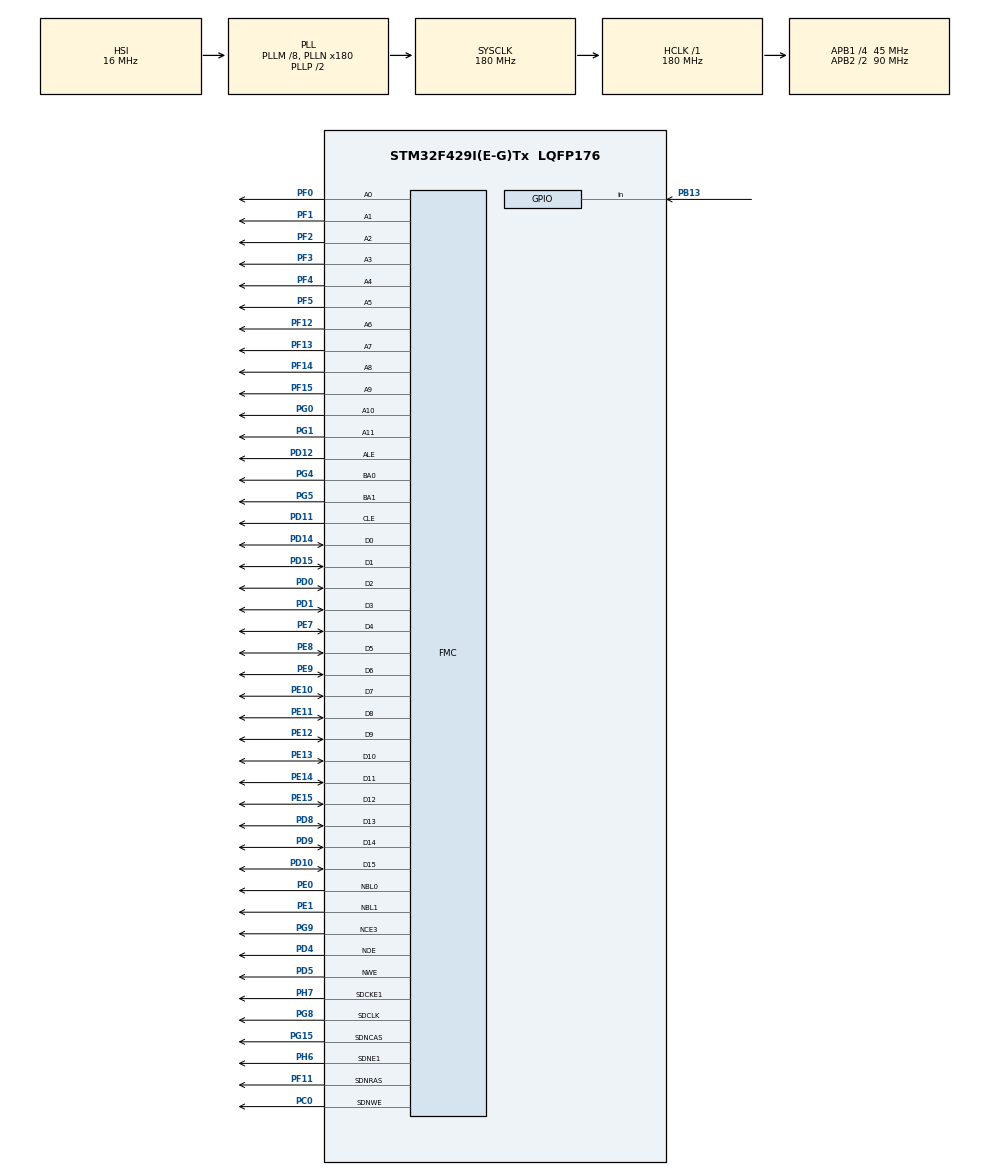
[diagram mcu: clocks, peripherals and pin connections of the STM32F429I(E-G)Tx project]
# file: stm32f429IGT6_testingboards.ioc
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FMC.AttributeSpaceHiZSetupTime1=1
FMC.AttributeSpaceHoldSetupTime1=3
FMC.AttributeSpaceSetupTime1=1
FMC.AttributeSpaceWaitSetupTime1=7
FMC.CASLatency1=FMC_SDRAM_CAS_LATENCY_3
FMC.CommonSpaceHiZSetupTime1=1
FMC.CommonSpaceHoldSetupTime1=3
FMC.CommonSpaceSetupTime1=1
FMC.CommonSpaceWaitSetupTime1=4
FMC.ExitSelfRefreshDelay1=7
FMC.LoadToActiveDelay1=2
FMC.NandBlockNbr1=1024
FMC.NandBlockSize1=64
FMC.NandPageSize1=2048
FMC.NandPlaneNbr1=1
FMC.NandPlaneSize1=1024
FMC.NandSpareAreaSize1=64
FMC.RCDDelay1=2
FMC.RPDelay1=2
FMC.ReadBurst1=FMC_SDRAM_RBURST_ENABLE
FMC.RowCycleDelay1=7
FMC.SDClockPeriod1=FMC_SDRAM_CLOCK_PERIOD_2
FMC.SelfRefreshTime1=4
FMC.WriteRecoveryTime1=6
Mcu.Family=STM32F4
Mcu.Name=STM32F429I(E-G)Tx
Mcu.Package=LQFP176
NVIC.FMC_IRQn=true\:0\:0\:false\:false\:true\:true\:true\:true
NVIC.PriorityGroup=NVIC_PRIORITYGROUP_4
PB13.GPIO_PuPd=GPIO_PULLUP
PB13.Signal=GPIO_Input
PC0.Signal=FMC_SDNWE
PC14/OSC32_IN.Mode=LSE-External-Oscillator
PC14/OSC32_IN.Signal=RCC_OSC32_IN
PC15/OSC32_OUT.Mode=LSE-External-Oscillator
PC15/OSC32_OUT.Signal=RCC_OSC32_OUT
PD0.Signal=FMC_D2_DA2
PD1.Signal=FMC_D3_DA3
PD10.Signal=FMC_D15_DA15
PD11.Signal=FMC_A16_CLE
PD12.Signal=FMC_A17_ALE
PD14.Signal=FMC_D0_DA0
PD15.Signal=FMC_D1_DA1
PD4.Signal=FMC_NOE
PD5.Signal=FMC_NWE
PD8.Signal=FMC_D13_DA13
PD9.Signal=FMC_D14_DA14
PE0.Signal=FMC_NBL0
PE1.Signal=FMC_NBL1
PE10.Signal=FMC_D7_DA7
PE11.Signal=FMC_D8_DA8
PE12.Signal=FMC_D9_DA9
PE13.Signal=FMC_D10_DA10
PE14.Signal=FMC_D11_DA11
PE15.Signal=FMC_D12_DA12
PE7.Signal=FMC_D4_DA4
PE8.Signal=FMC_D5_DA5
PE9.Signal=FMC_D6_DA6
PF0.Signal=FMC_A0
PF1.Signal=FMC_A1
PF11.Signal=FMC_SDNRAS
PF12.Signal=FMC_A6
PF13.Signal=FMC_A7
PF14.Signal=FMC_A8
PF15.Signal=FMC_A9
PF2.Signal=FMC_A2
PF3.Signal=FMC_A3
PF4.Signal=FMC_A4
PF5.Signal=FMC_A5
PG0.Signal=FMC_A10
PG1.Signal=FMC_A11
PG15.Signal=FMC_SDNCAS
PG4.Signal=FMC_A14_BA0
PG5.Signal=FMC_A15_BA1
PG8.Signal=FMC_SDCLK
PG9.Mode=NandChipSelect3_1
PG9.Signal=FMC_NCE3
PH0/OSC_IN.Mode=HSE-External-Oscillator
PH0/OSC_IN.Signal=RCC_OSC_IN
PH1/OSC_OUT.Mode=HSE-External-Oscillator
PH1/OSC_OUT.Signal=RCC_OSC_OUT
PH6.Mode=SdramChipSelect2_1
PH6.Signal=FMC_SDNE1
PH7.Mode=SdramChipSelect2_1
PH7.Signal=FMC_SDCKE1
ProjectManager.HeapSize=0x200
ProjectManager.StackSize=0x400
ProjectManager.TargetToolchain=EWARM V8.50
RCC.48MHZClocksFreq_Value=90000000
RCC.AHBFreq_Value=180000000
RCC.APB1CLKDivider=RCC_HCLK_DIV4
RCC.APB1Freq_Value=45000000
RCC.APB1TimFreq_Value=90000000
RCC.APB2CLKDivider=RCC_HCLK_DIV2
RCC.APB2Freq_Value=90000000
RCC.APB2TimFreq_Value=180000000
RCC.CortexFreq_Value=180000000
RCC.HCLKFreq_Value=180000000
RCC.HSE_VALUE=25000000
RCC.HSI_VALUE=16000000
RCC.PLLM=8
RCC.PLLN=180
RCC.SYSCLKFreq_VALUE=180000000
RCC.SYSCLKSource=RCC_SYSCLKSOURCE_PLLCLK
RCC.VCOOutputFreq_Value=360000000
SH.FMC_A0.0=FMC_A0,12b-sda1
SH.FMC_A1.0=FMC_A1,12b-sda1
SH.FMC_A10.0=FMC_A10,12b-sda1
SH.FMC_A11.0=FMC_A11,12b-sda1
SH.FMC_A14_BA0.0=FMC_BA0,FourSdramBanks1
SH.FMC_A15_BA1.0=FMC_BA1,FourSdramBanks1
SH.FMC_A16_CLE.0=FMC_CLE,8b-dmux1
SH.FMC_A17_ALE.0=FMC_ALE,8b-dmux1
SH.FMC_A2.0=FMC_A2,12b-sda1
SH.FMC_A3.0=FMC_A3,12b-sda1
SH.FMC_A4.0=FMC_A4,12b-sda1
SH.FMC_A5.0=FMC_A5,12b-sda1
SH.FMC_A6.0=FMC_A6,12b-sda1
SH.FMC_A7.0=FMC_A7,12b-sda1
SH.FMC_A8.0=FMC_A8,12b-sda1
SH.FMC_A9.0=FMC_A9,12b-sda1
SH.FMC_D0_DA0.0=FMC_D0,sd-16b-d1
SH.FMC_D0_DA0.1=FMC_D0,8b-dmux1
SH.FMC_D10_DA10.0=FMC_D10,sd-16b-d1
SH.FMC_D11_DA11.0=FMC_D11,sd-16b-d1
SH.FMC_D12_DA12.0=FMC_D12,sd-16b-d1
SH.FMC_D13_DA13.0=FMC_D13,sd-16b-d1
SH.FMC_D14_DA14.0=FMC_D14,sd-16b-d1
SH.FMC_D15_DA15.0=FMC_D15,sd-16b-d1
SH.FMC_D1_DA1.0=FMC_D1,sd-16b-d1
SH.FMC_D1_DA1.1=FMC_D1,8b-dmux1
SH.FMC_D2_DA2.0=FMC_D2,sd-16b-d1
SH.FMC_D2_DA2.1=FMC_D2,8b-dmux1
SH.FMC_D3_DA3.0=FMC_D3,sd-16b-d1
SH.FMC_D3_DA3.1=FMC_D3,8b-dmux1
SH.FMC_D4_DA4.0=FMC_D4,sd-16b-d1
SH.FMC_D4_DA4.1=FMC_D4,8b-dmux1
SH.FMC_D5_DA5.0=FMC_D5,sd-16b-d1
SH.FMC_D5_DA5.1=FMC_D5,8b-dmux1
SH.FMC_D6_DA6.0=FMC_D6,sd-16b-d1
SH.FMC_D6_DA6.1=FMC_D6,8b-dmux1
SH.FMC_D7_DA7.0=FMC_D7,sd-16b-d1
SH.FMC_D7_DA7.1=FMC_D7,8b-dmux1
SH.FMC_D8_DA8.0=FMC_D8,sd-16b-d1
SH.FMC_D9_DA9.0=FMC_D9,sd-16b-d1
SH.FMC_NBL0.0=FMC_NBL0,Sd2ByteEnable1
SH.FMC_NBL1.0=FMC_NBL1,Sd2ByteEnable1
SH.FMC_NOE.0=FMC_NOE,8b-dmux1
SH.FMC_NWE.0=FMC_NWE,8b-dmux1
SH.FMC_SDCLK.0=FMC_SDCLK,12b-sda1
SH.FMC_SDNCAS.0=FMC_SDNCAS,12b-sda1
SH.FMC_SDNRAS.0=FMC_SDNRAS,12b-sda1
SH.FMC_SDNWE.0=FMC_SDNWE,12b-sda1
board=custom

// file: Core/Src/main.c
/* USER CODE BEGIN Header */
/**
  ******************************************************************************
  * @file           : main.c
  * @brief          : Main program body
  ******************************************************************************
  */
/* USER CODE END Header */
#include "main.h"

NAND_HandleTypeDef hnand1;
SDRAM_HandleTypeDef hsdram1;

/* USER CODE BEGIN PV */
NAND_IDTypeDef g_nand_id;

volatile HAL_StatusTypeDef g_erase_status = HAL_ERROR;
volatile HAL_StatusTypeDef g_read_status  = HAL_ERROR;
volatile HAL_StatusTypeDef g_write_status = HAL_ERROR;

NAND_AddressTypeDef g_erase_addr;

uint8_t g_write_buf[2048];
uint8_t g_read_buf[2048];

/* Адреса областей FMC NAND Bank3 */
const uint32_t g_data_area = 0x80000000u;
const uint32_t g_cmd_area  = 0x80000000u | 0x00010000u;  /* 0x80010000 */
const uint32_t g_addr_area = 0x80000000u | 0x00020000u;  /* 0x80020000 */
/* USER CODE END PV */

void SystemClock_Config(void);
static void MX_GPIO_Init(void);
static void MX_FMC_Init(void);

/* USER CODE BEGIN 0 */

/* Ожидание готовности NAND по линии R/B# (PB13). */
static HAL_StatusTypeDef NAND_WaitReady(uint32_t timeout_ms)
{
  uint32_t start = HAL_GetTick();
  while (HAL_GPIO_ReadPin(GPIOB, GPIO_PIN_13) == GPIO_PIN_RESET)
  {
    if ((HAL_GetTick() - start) > timeout_ms)
    {
      return HAL_TIMEOUT;
    }
  }
  return HAL_OK;
}

/* Чтение байта статуса NAND (команда 0x70) */
static uint8_t NAND_ReadStatusByte(void)
{
  *(volatile uint8_t *)g_cmd_area = 0x70;
  return *(volatile uint8_t *)g_data_area;
}

/* USER CODE END 0 */

int main(void)
{

  /* MCU Configuration--------------------------------------------------------*/

  /* Reset of all peripherals, Initializes the Flash interface and the Systick. */
  HAL_Init();

  /* Configure the system clock */
  SystemClock_Config();

  /* Initialize all configured peripherals */
  MX_GPIO_Init();
  MX_FMC_Init();
  /* USER CODE BEGIN 2 */

  /* ================= SDRAM INITIALIZATION SEQUENCE ================= */
  FMC_SDRAM_CommandTypeDef Command;
  uint32_t tmpmrd = 0;

  Command.CommandMode            = FMC_SDRAM_CMD_CLK_ENABLE;
  Command.CommandTarget          = FMC_SDRAM_CMD_TARGET_BANK1_2;
  Command.AutoRefreshNumber      = 1;
  Command.ModeRegisterDefinition = 0;
  (void)HAL_SDRAM_SendCommand(&hsdram1, &Command, 0xFFFF);

  HAL_Delay(1);

  Command.CommandMode       = FMC_SDRAM_CMD_PALL;
  Command.CommandTarget     = FMC_SDRAM_CMD_TARGET_BANK2;
  Command.AutoRefreshNumber = 1;
  (void)HAL_SDRAM_SendCommand(&hsdram1, &Command, 0xFFFF);

  Command.CommandMode       = FMC_SDRAM_CMD_AUTOREFRESH_MODE;
  Command.CommandTarget     = FMC_SDRAM_CMD_TARGET_BANK2;
  Command.AutoRefreshNumber = 8;
  (void)HAL_SDRAM_SendCommand(&hsdram1, &Command, 0xFFFF);

  tmpmrd = (uint32_t)(0u << 0) | (uint32_t)(0u << 3) |
           (uint32_t)(3u << 4) | (uint32_t)(1u << 9);

  Command.CommandMode            = FMC_SDRAM_CMD_LOAD_MODE;
  Command.CommandTarget          = FMC_SDRAM_CMD_TARGET_BANK2;
  Command.AutoRefreshNumber      = 1;
  Command.ModeRegisterDefinition = tmpmrd;
  (void)HAL_SDRAM_SendCommand(&hsdram1, &Command, 0xFFFF);

  (void)HAL_SDRAM_ProgramRefreshRate(&hsdram1, 1385);
  HAL_Delay(10);

  /* ================= SDRAM TEST ================= */
  {
    volatile uint16_t *sdram_ptr = (volatile uint16_t *)0xD0000000u;
    *sdram_ptr = 0xAA55u;
    volatile uint16_t sdram_rd = *sdram_ptr;
    (void)sdram_rd;
  }

  /* ================= NAND: инициализация адреса ================= */
  g_erase_addr.Plane = 0;
  g_erase_addr.Block = 0;
  g_erase_addr.Page  = 0;

  for (int i = 0; i < 2048; i++)
  {
    g_write_buf[i] = (uint8_t)(i & 0xFF);
  }

  /* ================= NAND TEST ================= */
  HAL_NAND_Reset(&hnand1);
  HAL_Delay(10);

  HAL_StatusTypeDef nand_status = HAL_NAND_Read_ID(&hnand1, &g_nand_id);

  if (nand_status == HAL_OK)
  {
    volatile uint32_t maker  = g_nand_id.Maker_Id;
    volatile uint32_t device = g_nand_id.Device_Id;
    volatile uint32_t third  = g_nand_id.Third_Id;
    volatile uint32_t fourth = g_nand_id.Fourth_Id;
    (void)maker; (void)device; (void)third; (void)fourth;
  }
  else
  {
    volatile uint32_t err = 1;
    (void)err;
  }

  /* ================= NAND: стирание блока 0 ================= */

  *(volatile uint8_t *)g_cmd_area = 0x60;

  *(volatile uint8_t *)g_addr_area = (uint8_t)((g_erase_addr.Block >> 8) & 0xFF);
  *(volatile uint8_t *)g_addr_area = (uint8_t)( g_erase_addr.Block       & 0xFF);

  *(volatile uint8_t *)g_cmd_area = 0xD0;

  /* tWB: NAND должен успеть «дёрнуть» R/B# вниз */
  for (volatile int d = 0; d < 1000; d++);

  HAL_StatusTypeDef erase_wait = NAND_WaitReady(100);
  if (erase_wait != HAL_OK)
  {
    g_erase_status = HAL_TIMEOUT;
  }
  else
  {
    uint8_t st = NAND_ReadStatusByte();
    g_erase_status = ((st & 0x01u) == 0u) ? HAL_OK : HAL_ERROR;
  }

  /* ================= NAND: запись страницы 0 блока 0 ================= */

  *(volatile uint8_t *)g_cmd_area = 0x80;

  *(volatile uint8_t *)g_addr_area = 0x00;
  *(volatile uint8_t *)g_addr_area = 0x00;
  *(volatile uint8_t *)g_addr_area = 0x00;
  *(volatile uint8_t *)g_addr_area = 0x00;

  for (int i = 0; i < 2048; i++)
  {
    *(volatile uint8_t *)g_data_area = g_write_buf[i];
  }

  *(volatile uint8_t *)g_cmd_area = 0x10;

  for (volatile int d = 0; d < 1000; d++);

  HAL_StatusTypeDef prog_wait = NAND_WaitReady(50);
  if (prog_wait != HAL_OK)
  {
    g_write_status = HAL_TIMEOUT;
  }
  else
  {
    uint8_t st = NAND_ReadStatusByte();
    g_write_status = ((st & 0x01u) == 0u) ? HAL_OK : HAL_ERROR;
  }

  /* ================= NAND: чтение страницы 0 блока 0 ================= */

  *(volatile uint8_t *)g_cmd_area = 0x00;

  *(volatile uint8_t *)g_addr_area = 0x00;
  *(volatile uint8_t *)g_addr_area = 0x00;
  *(volatile uint8_t *)g_addr_area = 0x00;
  *(volatile uint8_t *)g_addr_area = 0x00;

  *(volatile uint8_t *)g_cmd_area = 0x30;

  /* tWB: критически важно, иначе NAND не успеет перевести R/B# в низкий уровень */
  for (volatile int d = 0; d < 5000; d++);

  /* tR: по даташиту W29N01HV максимум 25 мкс, 1 мс с большим запасом */
  HAL_Delay(1);

  /* Чтение данных: никакой команды 0x70 здесь быть не должно */
  for (int i = 0; i < 2048; i++)
  {
    g_read_buf[i] = *(volatile uint8_t *)g_data_area;
  }

  /* Сравнение: только по содержимому, без статусного байта */
  uint32_t mismatch = 0;
  for (int i = 0; i < 2048; i++)
  {
    if (g_read_buf[i] != g_write_buf[i])
    {
      mismatch++;
    }
  }
  g_read_status = (mismatch == 0) ? HAL_OK : HAL_ERROR;

  /* USER CODE END 2 */

  /* Infinite loop */
  while (1)
  {

  }
}

void SystemClock_Config(void)
{
  RCC_OscInitTypeDef RCC_OscInitStruct = {0};
  RCC_ClkInitTypeDef RCC_ClkInitStruct = {0};

  /** Configure the main internal regulator output voltage
  */
  __HAL_RCC_PWR_CLK_ENABLE();
  __HAL_PWR_VOLTAGESCALING_CONFIG(PWR_REGULATOR_VOLTAGE_SCALE1);

  /** Initializes the RCC Oscillators according to the specified parameters
  * in the RCC_OscInitTypeDef structure.
  */
  RCC_OscInitStruct.OscillatorType = RCC_OSCILLATORTYPE_HSI;
  RCC_OscInitStruct.HSIState = RCC_HSI_ON;
  RCC_OscInitStruct.HSICalibrationValue = RCC_HSICALIBRATION_DEFAULT;
  RCC_OscInitStruct.PLL.PLLState = RCC_PLL_ON;
  RCC_OscInitStruct.PLL.PLLSource = RCC_PLLSOURCE_HSI;
  RCC_OscInitStruct.PLL.PLLM = 8;
  RCC_OscInitStruct.PLL.PLLN = 180;
  RCC_OscInitStruct.PLL.PLLP = RCC_PLLP_DIV2;
  RCC_OscInitStruct.PLL.PLLQ = 4;
  if (HAL_RCC_OscConfig(&RCC_OscInitStruct) != HAL_OK)
  {
    Error_Handler();
  }

  /** Activate the Over-Drive mode
  */
  if (HAL_PWREx_EnableOverDrive() != HAL_OK)
  {
    Error_Handler();
  }

  /** Initializes the CPU, AHB and APB buses clocks
  */
  RCC_ClkInitStruct.ClockType = RCC_CLOCKTYPE_HCLK|RCC_CLOCKTYPE_SYSCLK
                              |RCC_CLOCKTYPE_PCLK1|RCC_CLOCKTYPE_PCLK2;
  RCC_ClkInitStruct.SYSCLKSource = RCC_SYSCLKSOURCE_PLLCLK;
  RCC_ClkInitStruct.AHBCLKDivider = RCC_SYSCLK_DIV1;
  RCC_ClkInitStruct.APB1CLKDivider = RCC_HCLK_DIV4;
  RCC_ClkInitStruct.APB2CLKDivider = RCC_HCLK_DIV2;

  if (HAL_RCC_ClockConfig(&RCC_ClkInitStruct, FLASH_LATENCY_5) != HAL_OK)
  {
    Error_Handler();
  }
}

/* FMC initialization function */
static void MX_FMC_Init(void)
{

  FMC_NAND_PCC_TimingTypeDef ComSpaceTiming = {0};
  FMC_NAND_PCC_TimingTypeDef AttSpaceTiming = {0};
  FMC_SDRAM_TimingTypeDef SdramTiming = {0};

  /** Perform the NAND1 memory initialization sequence
  */
  hnand1.Instance = FMC_NAND_DEVICE;
  /* hnand1.Init */
  hnand1.Init.NandBank = FMC_NAND_BANK3;
  hnand1.Init.Waitfeature = FMC_NAND_PCC_WAIT_FEATURE_DISABLE;
  hnand1.Init.MemoryDataWidth = FMC_NAND_PCC_MEM_BUS_WIDTH_8;
  hnand1.Init.EccComputation = FMC_NAND_ECC_DISABLE;
  hnand1.Init.ECCPageSize = FMC_NAND_ECC_PAGE_SIZE_256BYTE;
  hnand1.Init.TCLRSetupTime = 0;
  hnand1.Init.TARSetupTime = 0;
  /* hnand1.Config */
  hnand1.Config.PageSize = 2048;
  hnand1.Config.SpareAreaSize = 64;
  hnand1.Config.BlockSize = 64;
  hnand1.Config.BlockNbr = 1024;
  hnand1.Config.PlaneNbr = 1;
  hnand1.Config.PlaneSize = 1024;
  hnand1.Config.ExtraCommandEnable = DISABLE;
  /* ComSpaceTiming */
  ComSpaceTiming.SetupTime = 1;
  ComSpaceTiming.WaitSetupTime = 4;
  ComSpaceTiming.HoldSetupTime = 3;
  ComSpaceTiming.HiZSetupTime = 1;
  /* AttSpaceTiming */
  AttSpaceTiming.SetupTime = 1;
  AttSpaceTiming.WaitSetupTime = 7;
  AttSpaceTiming.HoldSetupTime = 3;
  AttSpaceTiming.HiZSetupTime = 1;

  if (HAL_NAND_Init(&hnand1, &ComSpaceTiming, &AttSpaceTiming) != HAL_OK)
  {
    Error_Handler( );
  }

  /** Perform the SDRAM1 memory initialization sequence
  */
  hsdram1.Instance = FMC_SDRAM_DEVICE;
  /* hsdram1.Init */
  hsdram1.Init.SDBank = FMC_SDRAM_BANK2;
  hsdram1.Init.ColumnBitsNumber = FMC_SDRAM_COLUMN_BITS_NUM_8;
  hsdram1.Init.RowBitsNumber = FMC_SDRAM_ROW_BITS_NUM_12;
  hsdram1.Init.MemoryDataWidth = FMC_SDRAM_MEM_BUS_WIDTH_16;
  hsdram1.Init.InternalBankNumber = FMC_SDRAM_INTERN_BANKS_NUM_4;
  hsdram1.Init.CASLatency = FMC_SDRAM_CAS_LATENCY_3;
  hsdram1.Init.WriteProtection = FMC_SDRAM_WRITE_PROTECTION_DISABLE;
  hsdram1.Init.SDClockPeriod = FMC_SDRAM_CLOCK_PERIOD_2;
  hsdram1.Init.ReadBurst = FMC_SDRAM_RBURST_ENABLE;
  hsdram1.Init.ReadPipeDelay = FMC_SDRAM_RPIPE_DELAY_0;
  /* SdramTiming */
  SdramTiming.LoadToActiveDelay = 2;
  SdramTiming.ExitSelfRefreshDelay = 7;
  SdramTiming.SelfRefreshTime = 4;
  SdramTiming.RowCycleDelay = 7;
  SdramTiming.WriteRecoveryTime = 6;
  SdramTiming.RPDelay = 2;
  SdramTiming.RCDDelay = 2;

  if (HAL_SDRAM_Init(&hsdram1, &SdramTiming) != HAL_OK)
  {
    Error_Handler( );
  }

}

static void MX_GPIO_Init(void)
{
  GPIO_InitTypeDef GPIO_InitStruct = {0};

  /* GPIO Ports Clock Enable */
  __HAL_RCC_GPIOC_CLK_ENABLE();
  __HAL_RCC_GPIOF_CLK_ENABLE();
  __HAL_RCC_GPIOH_CLK_ENABLE();
  __HAL_RCC_GPIOG_CLK_ENABLE();
  __HAL_RCC_GPIOE_CLK_ENABLE();
  __HAL_RCC_GPIOB_CLK_ENABLE();
  __HAL_RCC_GPIOD_CLK_ENABLE();

  /*Configure GPIO pin : PB13 */
  GPIO_InitStruct.Pin = GPIO_PIN_13;
  GPIO_InitStruct.Mode = GPIO_MODE_INPUT;
  GPIO_InitStruct.Pull = GPIO_PULLUP;
  HAL_GPIO_Init(GPIOB, &GPIO_InitStruct);

}

void Error_Handler(void)
{
  __disable_irq();
  while (1)
  {
  }
}
